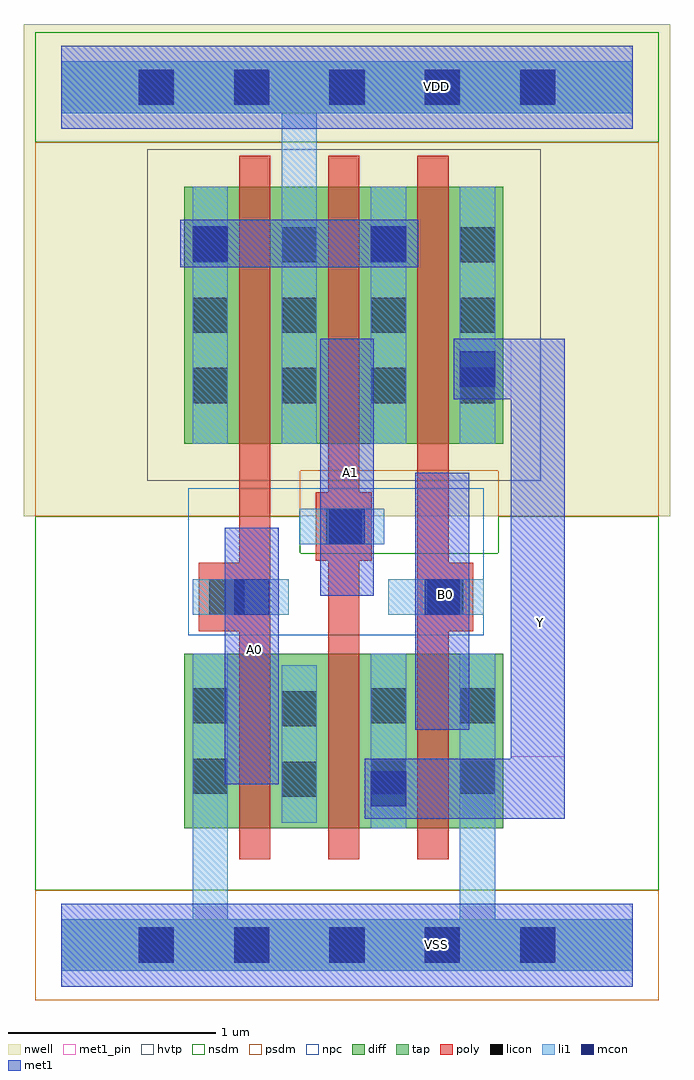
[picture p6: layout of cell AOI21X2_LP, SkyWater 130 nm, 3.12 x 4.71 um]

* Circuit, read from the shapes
.subckt AOI21X2_LP A0 A1 B0 VDD VSS Y
XM1 n1 A0 VSS VSS sky130_fd_pr__nfet_01v8 w=0.84 l=0.15
XM2 Y A1 n1 VSS sky130_fd_pr__nfet_01v8 w=0.84 l=0.15
XM3 VSS B0 Y VSS sky130_fd_pr__nfet_01v8 w=0.84 l=0.15
XM4 VDD A0 n2 VDD sky130_fd_pr__pfet_01v8_hvt w=1.24 l=0.15
XM5 n2 A1 VDD VDD sky130_fd_pr__pfet_01v8_hvt w=1.24 l=0.15
XM6 Y B0 n2 VDD sky130_fd_pr__pfet_01v8_hvt w=1.24 l=0.15
.ends

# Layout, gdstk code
import gdstk
lib = gdstk.Library(unit=1e-6, precision=1e-09)
def R(c, l, rs):  # rectangles x0, y0, x1, y1
    for r in rs: c.add(gdstk.rectangle(r[:2], r[2:], *l))
def A(c, l, x, y, w, h, nx, ny, dx, dy):  # array of equal rectangles
    R(c, l, [(x+i*dx, y+j*dy, x+i*dx+w, y+j*dy+h) for i in range(nx) for j in range(ny)])
def P(c, l, *ps):  # polygons
    for p in ps: c.add(gdstk.Polygon(p, *l))
nwell = (64, 20)
diff = (65, 20)
tap = (65, 44)
poly = (66, 20)
licon = (66, 44)
li1 = (67, 20)
mcon = (67, 44)
met1_pin = (68, 16)
met1 = (68, 20)
hvtp = (78, 44)
nsdm = (93, 44)
psdm = (94, 20)
npc = (95, 20)

l1m1_c_cdns_752016907001 = lib.new_cell('L1M1_C_CDNS_752016907001')
R(l1m1_c_cdns_752016907001, li1, [(-0.085,-0.165,0.085,0.165)])
R(l1m1_c_cdns_752016907001, mcon, [(-0.085,-0.085,0.085,0.085)])
R(l1m1_c_cdns_752016907001, met1, [(-0.115,-0.145,0.115,0.145)])

l1m1_c_cdns_752016907006 = lib.new_cell('L1M1_C_CDNS_752016907006')
R(l1m1_c_cdns_752016907006, li1, [(-0.085,-0.165,0.085,0.165)])
R(l1m1_c_cdns_752016907006, mcon, [(-0.085,-0.085,0.085,0.085)])
R(l1m1_c_cdns_752016907006, met1, [(-0.145,-0.115,0.145,0.115)])

pyl1con_c_cdns_752016907 = lib.new_cell('PYL1CON_C_CDNS_752016907000')
R(pyl1con_c_cdns_752016907, poly, [(-0.135,-0.165,0.135,0.165)])
R(pyl1con_c_cdns_752016907, licon, [(-0.085,-0.085,0.085,0.085)])
R(pyl1con_c_cdns_752016907, npc, [(-0.185,-0.185,0.185,0.185)])

l1m1_c_cdns_752016907003 = lib.new_cell('L1M1_C_CDNS_752016907003')
R(l1m1_c_cdns_752016907003, li1, [(-0.165,-0.085,0.165,0.085)])
R(l1m1_c_cdns_752016907003, mcon, [(-0.085,-0.085,0.085,0.085)])
R(l1m1_c_cdns_752016907003, met1, [(-0.115,-0.145,0.115,0.145)])

aoi21x2_lp = lib.new_cell('AOI21X2_LP')
R(aoi21x2_lp, nwell, [(-0.18,2.07,2.94,4.445)])
R(aoi21x2_lp, diff, [(0.595,0.565,2.135,1.405), (0.595,2.42,2.135,3.66)])
A(aoi21x2_lp, poly, 0.86, 0.415, 0.15, 3.395, 3, 1, 0.43, 0)
A(aoi21x2_lp, licon, 0.375, -0.085, 0.17, 0.17, 5, 2, 0.46, 4.14)
A(aoi21x2_lp, licon, 0.635, 2.615, 0.17, 0.17, 4, 3, 0.43, 0.34)
R(aoi21x2_lp, licon, [(1.065,0.715,1.235,0.885), (0.635,0.73,0.805,0.9), (1.495,0.73,1.665,0.9), (1.925,0.73,2.095,0.9), (1.065,1.055,1.235,1.225), (0.635,1.07,0.805,1.24), (1.495,1.07,1.665,1.24), (1.925,1.07,2.095,1.24)])
R(aoi21x2_lp, li1, [(1.495,0.565,1.665,1.405), (0.635,2.42,0.805,3.66), (1.495,2.42,1.665,3.66), (1.925,2.42,2.095,3.66)])
P(aoi21x2_lp, li1, [(2.76,4.265),(0,4.265),(0,4.015),(1.065,4.015),(1.065,2.42),(1.235,2.42),(1.235,4.015),(2.76,4.015)],
  [(2.76,0.125),(2.095,0.125),(2.095,1.405),(1.925,1.405),(1.925,0.125),(0.805,0.125),(0.805,1.405),(0.635,1.405),(0.635,0.125),(0,0.125),(0,-0.125),(2.76,-0.125)])
A(aoi21x2_lp, mcon, 0.375, -0.085, 0.17, 0.17, 5, 2, 0.46, 4.14)
R(aoi21x2_lp, met1_pin, [(0.79,0.775,1.05,2.015), (2.17,0.91,2.43,2.925), (1.71,1.04,1.97,2.28), (1.25,1.685,1.51,2.925)])
P(aoi21x2_lp, met1, [(2.43,2.925),(2.01,2.925),(2.01,2.635),(2.17,2.635),(2.17,0.9),(1.465,0.9),(1.465,0.61),(2.43,0.61)])
R(aoi21x2_lp, hvtp, [(0.415,2.24,2.315,3.84)])
R(aoi21x2_lp, nsdm, [(-0.125,3.875,2.885,4.405)])
P(aoi21x2_lp, nsdm, [(2.885,2.07),(2.11,2.07),(2.11,1.89),(1.155,1.89),(1.155,2.07),(-0.125,2.07),(-0.125,0.265),(2.885,0.265)])
R(aoi21x2_lp, psdm, [(-0.125,-0.265,2.885,0.265)])
P(aoi21x2_lp, psdm, [(2.885,3.875),(-0.125,3.875),(-0.125,2.07),(1.155,2.07),(1.155,2.29),(2.11,2.29),(2.11,2.07),(2.885,2.07)])
R(aoi21x2_lp, npc, [(0.615,1.495,2.04,2.205)])
aoi21x2_lp.add(gdstk.FlexPath([(0.635,1.68),(1.1,1.68)], 0.17, ends="flush", simple_path=True, layer=67, datatype=20))  # li1
aoi21x2_lp.add(gdstk.FlexPath([(1.58,1.68),(2.04,1.68)], 0.17, ends="flush", simple_path=True, layer=67, datatype=20))  # li1
aoi21x2_lp.add(gdstk.FlexPath([(1.15,2.02),(1.56,2.02)], 0.17, ends="flush", simple_path=True, layer=67, datatype=20))  # li1
aoi21x2_lp.add(gdstk.FlexPath([(1.15,0.59),(1.15,1.35)], 0.17, ends="flush", simple_path=True, layer=67, datatype=20))  # li1
aoi21x2_lp.add(gdstk.FlexPath([(0,4.14),(2.76,4.14)], 0.4, ends="flush", simple_path=True, layer=68, datatype=16))  # met1_pin
aoi21x2_lp.add(gdstk.FlexPath([(0,0),(2.76,0)], 0.4, ends="flush", simple_path=True, layer=68, datatype=16))  # met1_pin
aoi21x2_lp.add(gdstk.FlexPath([(0,4.14),(2.76,4.14)], 0.4, ends="flush", simple_path=True, layer=68, datatype=20))  # met1
aoi21x2_lp.add(gdstk.FlexPath([(0,0),(2.76,0)], 0.4, ends="flush", simple_path=True, layer=68, datatype=20))  # met1
aoi21x2_lp.add(gdstk.FlexPath([(0.92,2.015),(0.92,0.775)], 0.26, ends="flush", simple_path=True, layer=68, datatype=20))  # met1
aoi21x2_lp.add(gdstk.FlexPath([(1.38,1.685),(1.38,2.925)], 0.26, ends="flush", simple_path=True, layer=68, datatype=20))  # met1
aoi21x2_lp.add(gdstk.FlexPath([(1.84,2.28),(1.84,1.04)], 0.26, ends="flush", simple_path=True, layer=68, datatype=20))  # met1
aoi21x2_lp.add(gdstk.FlexPath([(0.865,3.385),(1.435,3.385)], 0.23, ends="flush", simple_path=True, layer=68, datatype=20))  # met1
aoi21x2_lp.add(gdstk.FlexPath([(0,4.14),(2.76,4.14)], 0.25, ends="flush", simple_path=True, layer=65, datatype=44))  # tap
aoi21x2_lp.add(gdstk.FlexPath([(0,0),(2.76,0)], 0.25, ends="flush", simple_path=True, layer=65, datatype=44))  # tap
aoi21x2_lp.add(gdstk.Reference(l1m1_c_cdns_752016907001, (2.01,2.78)))
aoi21x2_lp.add(gdstk.Reference(l1m1_c_cdns_752016907001, (1.58,0.755)))
aoi21x2_lp.add(gdstk.Reference(l1m1_c_cdns_752016907006, (1.58,3.385)))
aoi21x2_lp.add(gdstk.Reference(l1m1_c_cdns_752016907006, (0.72,3.385)))
aoi21x2_lp.add(gdstk.Reference(pyl1con_c_cdns_752016907, (1.365,2.02)))
aoi21x2_lp.add(gdstk.Reference(pyl1con_c_cdns_752016907, (0.8,1.68)))
aoi21x2_lp.add(gdstk.Reference(pyl1con_c_cdns_752016907, (1.855,1.68)))
aoi21x2_lp.add(gdstk.Reference(l1m1_c_cdns_752016907003, (1.38,2.02), x_reflection=True))
aoi21x2_lp.add(gdstk.Reference(l1m1_c_cdns_752016907003, (0.92,1.68)))
aoi21x2_lp.add(gdstk.Reference(l1m1_c_cdns_752016907003, (1.84,1.68)))
aoi21x2_lp.add(gdstk.Label('A0', (0.935,1.425), layer=68, texttype=5))
aoi21x2_lp.add(gdstk.Label('A1', (1.395,2.28), layer=68, texttype=5))
aoi21x2_lp.add(gdstk.Label('Y', (2.315,1.555), layer=68, texttype=5))
aoi21x2_lp.add(gdstk.Label('B0', (1.855,1.69), layer=68, texttype=5))
aoi21x2_lp.add(gdstk.Label('VSS', (1.81,0.005), layer=68, texttype=5))
aoi21x2_lp.add(gdstk.Label('VDD', (1.81,4.145), layer=68, texttype=5))

lib.write_gds('AOI21X2_LP.gds')
